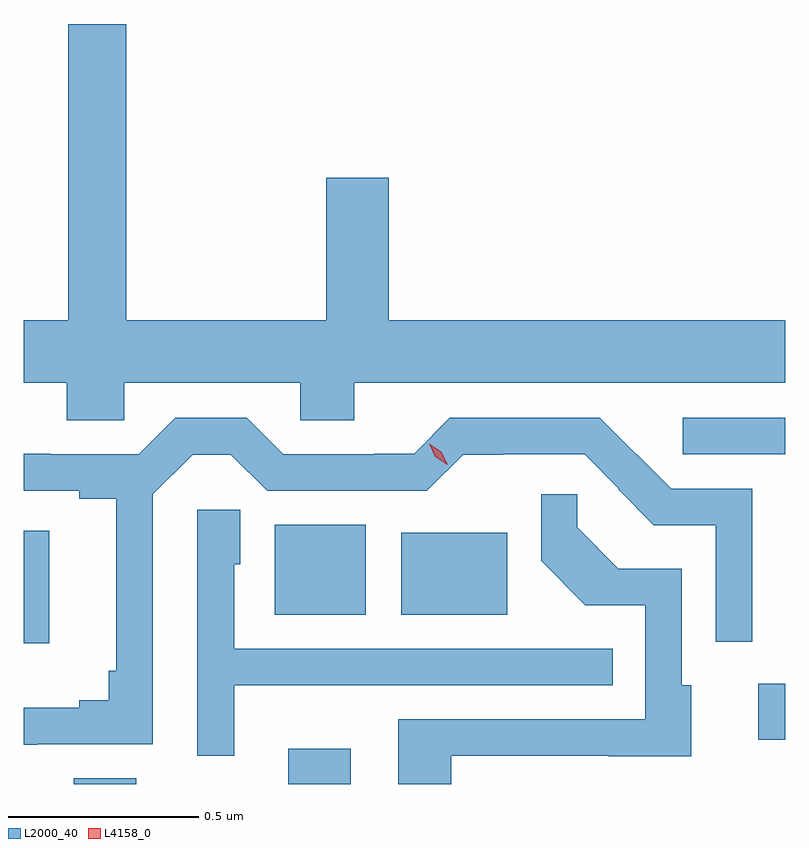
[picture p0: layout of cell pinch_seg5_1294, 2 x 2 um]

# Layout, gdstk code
import gdstk
lib = gdstk.Library(unit=1e-6, precision=1e-09)
def R(c, l, rs):  # rectangles x0, y0, x1, y1
    for r in rs: c.add(gdstk.rectangle(r[:2], r[2:], *l))
def P(c, l, *ps):  # polygons
    for p in ps: c.add(gdstk.Polygon(p, *l))
L2000_40 = (2000, 40)
L4158_0 = (4158, 0)

pinch_seg5_1294 = lib.new_cell('pinch_seg5_1294')
R(pinch_seg5_1294, L2000_40, [(404.105,870.358,404.269,870.373), (404.669,870.358,404.833,870.451), (405.903,870.474,405.974,870.622), (403.974,870.728,404.041,871.024), (404.633,870.803,404.872,871.039), (404.966,870.803,405.244,871.018), (405.705,871.224,405.974,871.32)])
P(pinch_seg5_1294, L2000_40, [(404.238,871.412),(404.7,871.412),(404.7,871.314),(404.842,871.314),(404.842,871.412),(405.974,871.412),(405.974,871.576),(404.932,871.576),(404.932,871.951),(404.768,871.951),(404.768,871.576),(404.243,871.576),(404.243,872.355),(404.09,872.355),(404.09,871.576),(403.974,871.576),(403.974,871.412),(404.087,871.412),(404.087,871.314),(404.238,871.314)],
  [(404.009,870.462),(404.313,870.462),(404.313,871.119),(404.417,871.223),(404.518,871.223),(404.613,871.128),(405.033,871.128),(405.128,871.223),(405.232,871.223),(405.232,871.224),(405.447,871.224),(405.537,871.134),(405.535,871.132),(405.629,871.038),(405.792,871.038),(405.792,870.732),(405.888,870.732),(405.888,871.134),(405.675,871.134),(405.584,871.225),(405.583,871.224),(405.487,871.32),(405.093,871.32),(404.999,871.226),(404.894,871.226),(404.894,871.224),(404.655,871.224),(404.559,871.32),(404.372,871.32),(404.276,871.224),(404.043,871.224),(404.043,871.226),(403.974,871.226),(403.974,871.128),(404.12,871.128),(404.12,871.108),(404.216,871.108),(404.216,870.655),(404.197,870.655),(404.197,870.578),(404.12,870.578),(404.12,870.559),(403.974,870.559),(403.974,870.461),(404.009,870.461)],
  [(405.097,870.432),(405.509,870.432),(405.509,870.431),(405.727,870.431),(405.727,870.618),(405.702,870.618),(405.702,870.924),(405.536,870.924),(405.428,871.032),(405.428,871.12),(405.333,871.12),(405.333,870.944),(405.449,870.828),(405.606,870.828),(405.606,870.528),(404.957,870.528),(404.957,870.358),(405.097,870.358)],
  [(404.527,870.617),(404.861,870.617),(404.861,870.618),(405.521,870.618),(405.521,870.714),(404.526,870.714),(404.526,870.936),(404.542,870.936),(404.542,871.079),(404.43,871.079),(404.43,870.432),(404.527,870.432)])
P(pinch_seg5_1294, L4158_0, [(405.086,871.197),(405.055,871.218),(405.039,871.252),(405.039,871.252),(405.039,871.252),(405.07,871.231),(405.086,871.198),(405.086,871.197)])

lib.write_gds('pinch_seg5_1294.gds')
